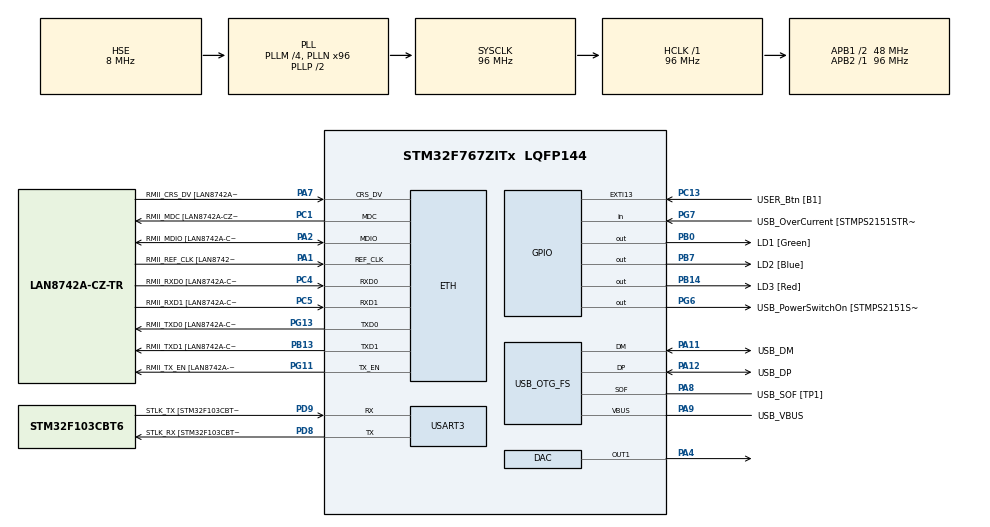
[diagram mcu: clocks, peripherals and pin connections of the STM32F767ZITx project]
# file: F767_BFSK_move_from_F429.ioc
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CORTEX_M7.default_mode_Activation=1
DAC.DAC_Trigger=DAC_TRIGGER_T6_TRGO
Dma.DAC1.0.Direction=DMA_MEMORY_TO_PERIPH
Dma.DAC1.0.FIFOMode=DMA_FIFOMODE_DISABLE
Dma.DAC1.0.Instance=DMA1_Stream5
Dma.DAC1.0.MemDataAlignment=DMA_MDATAALIGN_HALFWORD
Dma.DAC1.0.MemInc=DMA_MINC_ENABLE
Dma.DAC1.0.Mode=DMA_CIRCULAR
Dma.DAC1.0.PeriphDataAlignment=DMA_PDATAALIGN_HALFWORD
Dma.DAC1.0.PeriphInc=DMA_PINC_DISABLE
Dma.DAC1.0.Priority=DMA_PRIORITY_HIGH
Dma.Request0=DAC1
ETH.MediaInterface=HAL_ETH_RMII_MODE
ETH.PHY_Name=LAN8742A_PHY_ADDRESS
ETH.PHY_Value=0
ETH.PhyAddress=0
Mcu.Family=STM32F7
Mcu.Name=STM32F767ZITx
Mcu.Package=LQFP144
NVIC.DMA1_Stream5_IRQn=true\:0\:0\:false\:false\:true\:false\:true\:true
NVIC.PriorityGroup=NVIC_PRIORITYGROUP_4
PA1.GPIO_Label=RMII_REF_CLK [LAN8742A-CZ-TR_REFCLK0]
PA1.Mode=RMII
PA1.Signal=ETH_REF_CLK
PA10.GPIO_Label=USB_ID
PA10.Signal=USB_OTG_FS_ID
PA11.GPIO_Label=USB_DM
PA11.Mode=Device_Only
PA11.Signal=USB_OTG_FS_DM
PA12.GPIO_Label=USB_DP
PA12.Mode=Device_Only
PA12.Signal=USB_OTG_FS_DP
PA13.GPIO_Label=TMS
PA13.Mode=Serial_Wire
PA13.Signal=SYS_JTMS-SWDIO
PA14.GPIO_Label=TCK
PA14.Mode=Serial_Wire
PA14.Signal=SYS_JTCK-SWCLK
PA2.GPIO_Label=RMII_MDIO [LAN8742A-CZ-TR_MDIO]
PA2.Mode=RMII
PA2.Signal=ETH_MDIO
PA4.Signal=COMP_DAC1_group
PA7.GPIO_Label=RMII_CRS_DV [LAN8742A-CZ-TR_CRS_DV]
PA7.Mode=RMII
PA7.Signal=ETH_CRS_DV
PA8.GPIO_Label=USB_SOF [TP1]
PA8.Mode=Activate_SOF_FS
PA8.Signal=USB_OTG_FS_SOF
PA9.GPIO_Label=USB_VBUS
PA9.Mode=Activate_VBUS
PA9.Signal=USB_OTG_FS_VBUS
PB0.GPIO_Label=LD1 [Green]
PB0.Signal=GPIO_Output
PB13.GPIO_Label=RMII_TXD1 [LAN8742A-CZ-TR_TXD1]
PB13.Mode=RMII
PB13.Signal=ETH_TXD1
PB14.GPIO_Label=LD3 [Red]
PB14.Signal=GPIO_Output
PB3.GPIO_Label=SWO
PB3.Signal=SYS_JTDO-SWO
PB7.GPIO_Label=LD2 [Blue]
PB7.Signal=GPIO_Output
PC1.GPIO_Label=RMII_MDC [LAN8742A-CZ-TR_MDC]
PC1.Mode=RMII
PC1.Signal=ETH_MDC
PC13.GPIO_Label=USER_Btn [B1]
PC13.Signal=GPXTI13
PC14/OSC32_IN.Mode=LSE-External-Oscillator
PC14/OSC32_IN.Signal=RCC_OSC32_IN
PC15/OSC32_OUT.Mode=LSE-External-Oscillator
PC15/OSC32_OUT.Signal=RCC_OSC32_OUT
PC4.GPIO_Label=RMII_RXD0 [LAN8742A-CZ-TR_RXD0]
PC4.Mode=RMII
PC4.Signal=ETH_RXD0
PC5.GPIO_Label=RMII_RXD1 [LAN8742A-CZ-TR_RXD1]
PC5.Mode=RMII
PC5.Signal=ETH_RXD1
PD8.GPIO_Label=STLK_RX [STM32F103CBT6_PA3]
PD8.Mode=Asynchronous
PD8.Signal=USART3_TX
PD9.GPIO_Label=STLK_TX [STM32F103CBT6_PA2]
PD9.Mode=Asynchronous
PD9.Signal=USART3_RX
PG11.GPIO_Label=RMII_TX_EN [LAN8742A-CZ-TR_TXEN]
PG11.Mode=RMII
PG11.Signal=ETH_TX_EN
PG13.GPIO_Label=RMII_TXD0 [LAN8742A-CZ-TR_TXD0]
PG13.Mode=RMII
PG13.Signal=ETH_TXD0
PG6.GPIO_Label=USB_PowerSwitchOn [STMPS2151STR_EN]
PG6.Signal=GPIO_Output
PG7.GPIO_Label=USB_OverCurrent [STMPS2151STR_FAULT]
PG7.Signal=GPIO_Input
PH0/OSC_IN.GPIO_Label=MCO [STM32F103CBT6_PA8]
PH0/OSC_IN.Mode=HSE-External-Clock-Source
PH0/OSC_IN.Signal=RCC_OSC_IN
PH1/OSC_OUT.Mode=HSE-External-Clock-Source
PH1/OSC_OUT.Signal=RCC_OSC_OUT
ProjectManager.HeapSize=0x200
ProjectManager.StackSize=0x400
ProjectManager.TargetToolchain=STM32CubeIDE
RCC.48MHZClocksFreq_Value=24000000
RCC.AHBFreq_Value=96000000
RCC.APB1CLKDivider=RCC_HCLK_DIV2
RCC.APB1Freq_Value=48000000
RCC.APB1TimFreq_Value=96000000
RCC.APB2Freq_Value=96000000
RCC.APB2TimFreq_Value=96000000
RCC.CortexFreq_Value=96000000
RCC.HCLKFreq_Value=96000000
RCC.HSE_VALUE=8000000
RCC.HSI_VALUE=16000000
RCC.PLLM=4
RCC.PLLMUL=RCC_PLL_MUL9
RCC.PLLN=96
RCC.PLLQ=4
RCC.PRESCALERUSB=RCC_USBCLKSOURCE_PLL_DIV1_5
RCC.SYSCLKFreq_VALUE=96000000
RCC.SYSCLKSource=RCC_SYSCLKSOURCE_PLLCLK
RCC.SYSCLKSourceVirtual=RCC_SYSCLKSOURCE_PLLCLK
RCC.USBFreq_Value=48000000
RCC.VCOOutputFreq_Value=192000000
SH.COMP_DAC1_group.0=DAC_OUT1,DAC_OUT1
TIM6.TIM_MasterOutputTrigger=TIM_TRGO_UPDATE
USART3.VirtualMode-Asynchronous=VM_ASYNC
USB_OTG_FS.VirtualMode=Device_Only
VP_TIM6_VS_ClockSourceINT.Mode=Enable_Timer
board=NUCLEO-F767ZI

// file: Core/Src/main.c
/* USER CODE BEGIN Header */
/* F767_BFSK_move_from_F429 */
/**
  ******************************************************************************
  * @file           : main.c
  * @brief          : Main program body
  ******************************************************************************
  * @attention
  *
  * Copyright (c) 2026 STMicroelectronics.
  * All rights reserved.
  *
  * This software is licensed under terms that can be found in the LICENSE file
  * in the root directory of this software component.
  * If no LICENSE file comes with this software, it is provided AS-IS.
  *
  ******************************************************************************
  */
/* USER CODE END Header */
#include "main.h"
#include "string.h"

/* USER CODE BEGIN Includes */
#include <stdint.h>
#include <stddef.h>
/* USER CODE END Includes */

#if defined ( __ICCARM__ ) /*!< IAR Compiler */
#pragma location=0x2007c000
ETH_DMADescTypeDef  DMARxDscrTab[ETH_RX_DESC_CNT]; /* Ethernet Rx DMA Descriptors */
#pragma location=0x2007c0a0
ETH_DMADescTypeDef  DMATxDscrTab[ETH_TX_DESC_CNT]; /* Ethernet Tx DMA Descriptors */

#elif defined ( __CC_ARM )  /* MDK ARM Compiler */

__attribute__((at(0x2007c000))) ETH_DMADescTypeDef  DMARxDscrTab[ETH_RX_DESC_CNT]; /* Ethernet Rx DMA Descriptors */
__attribute__((at(0x2007c0a0))) ETH_DMADescTypeDef  DMATxDscrTab[ETH_TX_DESC_CNT]; /* Ethernet Tx DMA Descriptors */

#elif defined ( __GNUC__ ) /* GNU Compiler */

ETH_DMADescTypeDef DMARxDscrTab[ETH_RX_DESC_CNT] __attribute__((section(".RxDecripSection"))); /* Ethernet Rx DMA Descriptors */
ETH_DMADescTypeDef DMATxDscrTab[ETH_TX_DESC_CNT] __attribute__((section(".TxDecripSection")));   /* Ethernet Tx DMA Descriptors */
#endif

ETH_TxPacketConfig TxConfig;

DAC_HandleTypeDef hdac;
DMA_HandleTypeDef hdma_dac1;

ETH_HandleTypeDef heth;

TIM_HandleTypeDef htim6;

UART_HandleTypeDef huart3;

PCD_HandleTypeDef hpcd_USB_OTG_FS;

/* USER CODE BEGIN PV */
#define TABLE_SIZE        32U
#define BIT_MS            10U
#define PRE_HIGH_MS       50U
#define PRE_ZERO_MS       50U
#define POST_ZERO_MS      50U
#define GAP_MS            200U

// choose which BFSK pair you want
typedef enum
{
  PAIR_30_31 = 0,
  PAIR_45_46 = 1,
} FreqPair;

static volatile FreqPair g_pair = PAIR_30_31;         // <- change this to change the output frequency pair

#define DAC_Vrev_V        3.34f
#define DAC_FULLSCALE     4095.0f
#define DAC_1V68_CODE     ((uint16_t)((1.68f / DAC_Vrev_V) * DAC_FULLSCALE))

static const uint16_t sineTable[TABLE_SIZE] = {
  2048,2447,2831,3185,3495,3750,3939,4056,
  4095,4056,3939,3750,3495,3185,2831,2447,
  2048,1648,1264, 910, 600, 345, 156,  39,
  0,  39, 156, 345, 600, 910,1264,1648
};

// Tx framing state machine
typedef enum {
  ST_PRE_HIGH = 0,
  ST_PRE_ZERO,
  ST_DATA,
  ST_POST_ZERO,
  ST_GAP
} TxState;

static TxState st = ST_PRE_HIGH;
static uint32_t stTick = 0;
static uint32_t lastBitTick = 0;
static uint32_t bitIndex = 0;

// Data buffet : ASCII --> bit string
#define MAX_ASCII_LEN     64U
#define MAX_BIT_LEN       (MAX_ASCII_LEN * 8)

static const char userText[MAX_ASCII_LEN + 1] = "AMAC";       // change text here
static char bitString[MAX_BIT_LEN + 1];

static uint32_t tim6_clk_hz = 0;

// build bit string from ascii
static void ascii_to_bits(const char *in, char *out, size_t out_cap)
{
  size_t w = 0;
  for (size_t i = 0; in[i] != '\0'; i++)
  {
    uint8_t c = (uint8_t)in[i];
    for (int b = 7; b >= 0; b--)
    {
      if (w + 1 >= out_cap) {out[w] = '\0'; return;}
      out[w++] = ((c >> b) & 1U) ? '1' : '0';
    } // end for
  } // end for
} // end function ascii_to_bits

// read TIM6 timer clock (APB1 timer clock)
static uint32_t get_tim6_clock_hz(void)
{
  // Cube/HAL: PCLK1 may be divided; timer clock doubles if APB prescaler != 1
  uint32_t pclk1 = HAL_RCC_GetPCLK1Freq();
  uint32_t ppre1 = (RCC->CFGR & RCC_CFGR_PPRE1) >> RCC_CFGR_PPRE1_Pos;
  uint32_t apb1_presc = (ppre1 < 4U) ? 1U  : (1U << (ppre1 - 3U));
  return (apb1_presc == 1U) ? pclk1 : (2U * pclk1);
} // end function get_tim6_clock_hz

// pick f0/f1 based on pair
static inline uint32_t pair_f0_hz(FreqPair p) {return (p == PAIR_30_31) ? 30000U : 45000U;}
static inline uint32_t pair_f1_hz(FreqPair p) {return (p == PAIR_30_31) ? 31000U : 46000U;}

// Core: compute ARR for desired f_out with TABLE_SIZE samples/cycle
static uint32_t calc_arr_for_fout(uint32_t fout_hz)
{
  // f_update = f_out * TABLE_SIZE
  uint32_t f_update = fout_hz * TABLE_SIZE;

  uint32_t psc = htim6.Init.Prescaler;    // using CubeMX PSC
  if (f_update == 0U) f_update = 1U;

  // ARR = tim_clk / ((PSC + 1) * f_update) - 1
  uint32_t arr = (tim6_clk_hz / ((psc + 1U) * f_update));
  if (arr > 0U) arr -= 1U;

  // guardrails
  if (arr < 1U) arr = 1U;
  if (arr > 0xFFFFU) arr = 0xFFFFU;

  return arr;
} // end function cal_arr_for_fout

// Core: apply arr safely (dynamic)
static void tim6_set_arr(uint32_t arr)
{
  __HAL_TIM_DISABLE(&htim6);
  __HAL_TIM_SET_AUTORELOAD(&htim6 , arr);
  __HAL_TIM_SET_COUNTER(&htim6 , 0);

  // Force register reload immediately
  HAL_TIM_GenerateEvent(&htim6 , TIM_EVENTSOURCE_UPDATE);

  __HAL_TIM_ENABLE(&htim6);
} // end function tim6_set_arr

// Core: Set frequency from one bit ('0'/'1')
static void set_symbol_freq(char b)
{
  uint32_t f = (b == '0') ? pair_f0_hz(g_pair) : pair_f1_hz(g_pair);
  uint32_t arr = calc_arr_for_fout(f);
  tim6_set_arr(arr);
} // end function set_symbol_freq

static TxState st_prev = 0xFF;
static inline uint8_t is_enter_start (TxState s)
{
  if (st != st_prev) {st_prev = st; return 1;}
  return 0;
} // end function is_enter_start
/* USER CODE END PV */

void SystemClock_Config(void);
static void MPU_Config(void);
static void MX_GPIO_Init(void);
static void MX_DMA_Init(void);
static void MX_DAC_Init(void);
static void MX_ETH_Init(void);
static void MX_TIM6_Init(void);
static void MX_USART3_UART_Init(void);
static void MX_USB_OTG_FS_PCD_Init(void);

int main(void)
{

  /* MPU Configuration--------------------------------------------------------*/
  MPU_Config();

  /* MCU Configuration--------------------------------------------------------*/

  /* Reset of all peripherals, Initializes the Flash interface and the Systick. */
  HAL_Init();

  /* Configure the system clock */
  SystemClock_Config();

  /* Initialize all configured peripherals */
  MX_GPIO_Init();
  MX_DMA_Init();
  MX_DAC_Init();
  MX_ETH_Init();
  MX_TIM6_Init();
  MX_USART3_UART_Init();
  MX_USB_OTG_FS_PCD_Init();
  /* USER CODE BEGIN 2 */

  // 1) build bit string once
  ascii_to_bits(userText , bitString , sizeof(bitString));

  // 2) start DAC with DMA (circular waveform table)
  HAL_DAC_Start_DMA(&hdac , DAC_CHANNEL_1 , (uint32_t*)sineTable , TABLE_SIZE , DAC_ALIGN_12B_R);

  // 3) start TIM6 (TIM6 TGRO should trigger DAC)
  HAL_TIM_Base_Start(&htim6);

  // 4) cache timer clock for ARR calculation
  tim6_clk_hz = get_tim6_clock_hz();

  // 5) enter PRE_HIGH: disable timer updates, force DC 1.68V
  __HAL_TIM_DISABLE(&htim6);
  HAL_DAC_SetValue(&hdac , DAC_CHANNEL_1 , DAC_ALIGN_12B_R , DAC_1V68_CODE);

  st = ST_PRE_HIGH;
  stTick = HAL_GetTick();
  lastBitTick = stTick;
  bitIndex = 0;

  /* USER CODE END 2 */

  /* Infinite loop */
  /* USER CODE BEGIN WHILE */
  while (1)
  {
    uint32_t now = HAL_GetTick();
    switch (st)
    {
    case ST_PRE_HIGH:
      if (is_enter_start(ST_PRE_HIGH))
      {
        __HAL_TIM_DISABLE(&htim6);          // ensure no trigger
        HAL_DAC_Stop_DMA(&hdac , DAC_CHANNEL_1);    // (recommended) avoid DMA residue
        HAL_DAC_SetValue(&hdac , DAC_CHANNEL_1 , DAC_ALIGN_12B_R , DAC_1V68_CODE);
      } // end if

      if (now - stTick >= PRE_HIGH_MS)
      {
        st = ST_PRE_ZERO;
        stTick = now;
      } // end if

      break;

    case ST_PRE_ZERO:
      if (is_enter_start(ST_PRE_ZERO))
      {
        __HAL_TIM_DISABLE(&htim6);
        HAL_DAC_Stop_DMA(&hdac , DAC_CHANNEL_1);
        HAL_DAC_SetValue(&hdac , DAC_CHANNEL_1 , DAC_ALIGN_12B_R , 0);
      } // end if

      if (now - stTick >= PRE_ZERO_MS)
      {
        st = ST_DATA;
        stTick = now;
      } // end if
      break;

    case ST_DATA:
      if (is_enter_start(ST_DATA))
      {
        bitIndex = 0;
        lastBitTick = now;

        // 1) reset LUT/DMA pointer so DATA always from table[0]
        HAL_DAC_Stop_DMA(&hdac , DAC_CHANNEL_1);
        HAL_DAC_Start_DMA(&hdac , DAC_CHANNEL_1 , (uint32_t*)sineTable , TABLE_SIZE , DAC_ALIGN_12B_R);

        // 2) reset timer counter and enable
        __HAL_TIM_SET_COUNTER(&htim6 , 0);
        __HAL_TIM_ENABLE(&htim6);

        // 3) set first symbol
        if (bitString[0] == '\0')
        {
          __HAL_TIM_DISABLE(&htim6);
          HAL_DAC_Stop_DMA(&hdac , DAC_CHANNEL_1);
          HAL_DAC_SetValue(&hdac , DAC_CHANNEL_1 , DAC_ALIGN_12B_R , 0);

          st = ST_POST_ZERO;
          stTick = now;
        } // end if
        else
        {
          set_symbol_freq(bitString[0]);
        } // end else
      } // end if

      // change frequency every BIT_MS

      if (now - lastBitTick >= BIT_MS)
      {
        lastBitTick += BIT_MS;
        bitIndex++;

        char b = bitString[bitIndex];
        if (b == '\0')
        {
          __HAL_TIM_DISABLE(&htim6);
          HAL_DAC_Stop_DMA(&hdac , DAC_CHANNEL_1);
          HAL_DAC_SetValue(&hdac , DAC_CHANNEL_1 , DAC_ALIGN_12B_R , 0);

          st = ST_POST_ZERO;
          stTick = now;
        } // end if
        else
        {
          set_symbol_freq(b);
        } // end else
      } // end if
      break;

    case ST_POST_ZERO:
      if (is_enter_start(ST_POST_ZERO))
      {
        __HAL_TIM_DISABLE(&htim6);
        HAL_DAC_Stop_DMA(&hdac , DAC_CHANNEL_1);
        HAL_DAC_SetValue(&hdac , DAC_CHANNEL_1 , DAC_ALIGN_12B_R , 0);
      } // end if

      if (now - stTick >= POST_ZERO_MS)
      {
        st = ST_GAP;
        stTick = now;
      } // end if
      break;

    case ST_GAP:
      if (is_enter_start(ST_GAP))
      {
        __HAL_TIM_DISABLE(&htim6);
        HAL_DAC_Stop_DMA(&hdac , DAC_CHANNEL_1);
        HAL_DAC_SetValue(&hdac , DAC_CHANNEL_1 , DAC_ALIGN_12B_R , 0);
      } // end if

      if (now - stTick >= GAP_MS)
      {
        st = ST_PRE_HIGH;
        stTick = now;
      } // end if
      break;

    default:
        __HAL_TIM_DISABLE(&htim6);
        HAL_DAC_Stop_DMA(&hdac , DAC_CHANNEL_1);
        HAL_DAC_SetValue(&hdac , DAC_CHANNEL_1 , DAC_ALIGN_12B_R , 0);
      break;
    } // end switch
    /* USER CODE END WHILE */

    /* USER CODE BEGIN 3 */
  } // end while
  /* USER CODE END 3 */
}

void SystemClock_Config(void)
{
  RCC_OscInitTypeDef RCC_OscInitStruct = {0};
  RCC_ClkInitTypeDef RCC_ClkInitStruct = {0};

  /** Configure LSE Drive Capability
  */
  HAL_PWR_EnableBkUpAccess();

  /** Configure the main internal regulator output voltage
  */
  __HAL_RCC_PWR_CLK_ENABLE();
  __HAL_PWR_VOLTAGESCALING_CONFIG(PWR_REGULATOR_VOLTAGE_SCALE3);

  /** Initializes the RCC Oscillators according to the specified parameters
  * in the RCC_OscInitTypeDef structure.
  */
  RCC_OscInitStruct.OscillatorType = RCC_OSCILLATORTYPE_HSE;
  RCC_OscInitStruct.HSEState = RCC_HSE_BYPASS;
  RCC_OscInitStruct.PLL.PLLState = RCC_PLL_ON;
  RCC_OscInitStruct.PLL.PLLSource = RCC_PLLSOURCE_HSE;
  RCC_OscInitStruct.PLL.PLLM = 4;
  RCC_OscInitStruct.PLL.PLLN = 96;
  RCC_OscInitStruct.PLL.PLLP = RCC_PLLP_DIV2;
  RCC_OscInitStruct.PLL.PLLQ = 4;
  RCC_OscInitStruct.PLL.PLLR = 2;
  if (HAL_RCC_OscConfig(&RCC_OscInitStruct) != HAL_OK)
  {
    Error_Handler();
  }

  /** Activate the Over-Drive mode
  */
  if (HAL_PWREx_EnableOverDrive() != HAL_OK)
  {
    Error_Handler();
  }

  /** Initializes the CPU, AHB and APB buses clocks
  */
  RCC_ClkInitStruct.ClockType = RCC_CLOCKTYPE_HCLK|RCC_CLOCKTYPE_SYSCLK
                              |RCC_CLOCKTYPE_PCLK1|RCC_CLOCKTYPE_PCLK2;
  RCC_ClkInitStruct.SYSCLKSource = RCC_SYSCLKSOURCE_PLLCLK;
  RCC_ClkInitStruct.AHBCLKDivider = RCC_SYSCLK_DIV1;
  RCC_ClkInitStruct.APB1CLKDivider = RCC_HCLK_DIV2;
  RCC_ClkInitStruct.APB2CLKDivider = RCC_HCLK_DIV1;

  if (HAL_RCC_ClockConfig(&RCC_ClkInitStruct, FLASH_LATENCY_3) != HAL_OK)
  {
    Error_Handler();
  }
}

static void MX_DAC_Init(void)
{

  DAC_ChannelConfTypeDef sConfig = {0};

  /** DAC Initialization
  */
  hdac.Instance = DAC;
  if (HAL_DAC_Init(&hdac) != HAL_OK)
  {
    Error_Handler();
  }

  /** DAC channel OUT1 config
  */
  sConfig.DAC_Trigger = DAC_TRIGGER_T6_TRGO;
  sConfig.DAC_OutputBuffer = DAC_OUTPUTBUFFER_ENABLE;
  if (HAL_DAC_ConfigChannel(&hdac, &sConfig, DAC_CHANNEL_1) != HAL_OK)
  {
    Error_Handler();
  }

}

static void MX_ETH_Init(void)
{

   static uint8_t MACAddr[6];

  heth.Instance = ETH;
  MACAddr[0] = 0x00;
  MACAddr[1] = 0x80;
  MACAddr[2] = 0xE1;
  MACAddr[3] = 0x00;
  MACAddr[4] = 0x00;
  MACAddr[5] = 0x00;
  heth.Init.MACAddr = &MACAddr[0];
  heth.Init.MediaInterface = HAL_ETH_RMII_MODE;
  heth.Init.TxDesc = DMATxDscrTab;
  heth.Init.RxDesc = DMARxDscrTab;
  heth.Init.RxBuffLen = 1524;

  if (HAL_ETH_Init(&heth) != HAL_OK)
  {
    Error_Handler();
  }

  memset(&TxConfig, 0 , sizeof(ETH_TxPacketConfig));
  TxConfig.Attributes = ETH_TX_PACKETS_FEATURES_CSUM | ETH_TX_PACKETS_FEATURES_CRCPAD;
  TxConfig.ChecksumCtrl = ETH_CHECKSUM_IPHDR_PAYLOAD_INSERT_PHDR_CALC;
  TxConfig.CRCPadCtrl = ETH_CRC_PAD_INSERT;

}

static void MX_TIM6_Init(void)
{

  TIM_MasterConfigTypeDef sMasterConfig = {0};

  htim6.Instance = TIM6;
  htim6.Init.Prescaler = 0;
  htim6.Init.CounterMode = TIM_COUNTERMODE_UP;
  htim6.Init.Period = 65535;
  htim6.Init.AutoReloadPreload = TIM_AUTORELOAD_PRELOAD_DISABLE;
  if (HAL_TIM_Base_Init(&htim6) != HAL_OK)
  {
    Error_Handler();
  }
  sMasterConfig.MasterOutputTrigger = TIM_TRGO_UPDATE;
  sMasterConfig.MasterSlaveMode = TIM_MASTERSLAVEMODE_DISABLE;
  if (HAL_TIMEx_MasterConfigSynchronization(&htim6, &sMasterConfig) != HAL_OK)
  {
    Error_Handler();
  }

}

static void MX_USART3_UART_Init(void)
{

  huart3.Instance = USART3;
  huart3.Init.BaudRate = 115200;
  huart3.Init.WordLength = UART_WORDLENGTH_8B;
  huart3.Init.StopBits = UART_STOPBITS_1;
  huart3.Init.Parity = UART_PARITY_NONE;
  huart3.Init.Mode = UART_MODE_TX_RX;
  huart3.Init.HwFlowCtl = UART_HWCONTROL_NONE;
  huart3.Init.OverSampling = UART_OVERSAMPLING_16;
  huart3.Init.OneBitSampling = UART_ONE_BIT_SAMPLE_DISABLE;
  huart3.AdvancedInit.AdvFeatureInit = UART_ADVFEATURE_NO_INIT;
  if (HAL_UART_Init(&huart3) != HAL_OK)
  {
    Error_Handler();
  }

}

static void MX_USB_OTG_FS_PCD_Init(void)
{

  hpcd_USB_OTG_FS.Instance = USB_OTG_FS;
  hpcd_USB_OTG_FS.Init.dev_endpoints = 6;
  hpcd_USB_OTG_FS.Init.speed = PCD_SPEED_FULL;
  hpcd_USB_OTG_FS.Init.dma_enable = DISABLE;
  hpcd_USB_OTG_FS.Init.phy_itface = PCD_PHY_EMBEDDED;
  hpcd_USB_OTG_FS.Init.Sof_enable = ENABLE;
  hpcd_USB_OTG_FS.Init.low_power_enable = DISABLE;
  hpcd_USB_OTG_FS.Init.lpm_enable = DISABLE;
  hpcd_USB_OTG_FS.Init.vbus_sensing_enable = ENABLE;
  hpcd_USB_OTG_FS.Init.use_dedicated_ep1 = DISABLE;
  if (HAL_PCD_Init(&hpcd_USB_OTG_FS) != HAL_OK)
  {
    Error_Handler();
  }

}

static void MX_DMA_Init(void)
{

  /* DMA controller clock enable */
  __HAL_RCC_DMA1_CLK_ENABLE();

  /* DMA interrupt init */
  /* DMA1_Stream5_IRQn interrupt configuration */
  HAL_NVIC_SetPriority(DMA1_Stream5_IRQn, 0, 0);
  HAL_NVIC_EnableIRQ(DMA1_Stream5_IRQn);

}

static void MX_GPIO_Init(void)
{
  GPIO_InitTypeDef GPIO_InitStruct = {0};

  /* GPIO Ports Clock Enable */
  __HAL_RCC_GPIOC_CLK_ENABLE();
  __HAL_RCC_GPIOH_CLK_ENABLE();
  __HAL_RCC_GPIOA_CLK_ENABLE();
  __HAL_RCC_GPIOB_CLK_ENABLE();
  __HAL_RCC_GPIOD_CLK_ENABLE();
  __HAL_RCC_GPIOG_CLK_ENABLE();

  /*Configure GPIO pin Output Level */
  HAL_GPIO_WritePin(GPIOB, LD1_Pin|LD3_Pin|LD2_Pin, GPIO_PIN_RESET);

  /*Configure GPIO pin Output Level */
  HAL_GPIO_WritePin(USB_PowerSwitchOn_GPIO_Port, USB_PowerSwitchOn_Pin, GPIO_PIN_RESET);

  /*Configure GPIO pin : USER_Btn_Pin */
  GPIO_InitStruct.Pin = USER_Btn_Pin;
  GPIO_InitStruct.Mode = GPIO_MODE_IT_RISING;
  GPIO_InitStruct.Pull = GPIO_NOPULL;
  HAL_GPIO_Init(USER_Btn_GPIO_Port, &GPIO_InitStruct);

  /*Configure GPIO pins : LD1_Pin LD3_Pin LD2_Pin */
  GPIO_InitStruct.Pin = LD1_Pin|LD3_Pin|LD2_Pin;
  GPIO_InitStruct.Mode = GPIO_MODE_OUTPUT_PP;
  GPIO_InitStruct.Pull = GPIO_NOPULL;
  GPIO_InitStruct.Speed = GPIO_SPEED_FREQ_LOW;
  HAL_GPIO_Init(GPIOB, &GPIO_InitStruct);

  /*Configure GPIO pin : USB_PowerSwitchOn_Pin */
  GPIO_InitStruct.Pin = USB_PowerSwitchOn_Pin;
  GPIO_InitStruct.Mode = GPIO_MODE_OUTPUT_PP;
  GPIO_InitStruct.Pull = GPIO_NOPULL;
  GPIO_InitStruct.Speed = GPIO_SPEED_FREQ_LOW;
  HAL_GPIO_Init(USB_PowerSwitchOn_GPIO_Port, &GPIO_InitStruct);

  /*Configure GPIO pin : USB_OverCurrent_Pin */
  GPIO_InitStruct.Pin = USB_OverCurrent_Pin;
  GPIO_InitStruct.Mode = GPIO_MODE_INPUT;
  GPIO_InitStruct.Pull = GPIO_NOPULL;
  HAL_GPIO_Init(USB_OverCurrent_GPIO_Port, &GPIO_InitStruct);

}

 /* MPU Configuration */

void MPU_Config(void)
{
  MPU_Region_InitTypeDef MPU_InitStruct = {0};

  /* Disables the MPU */
  HAL_MPU_Disable();

  /** Initializes and configures the Region and the memory to be protected
  */
  MPU_InitStruct.Enable = MPU_REGION_ENABLE;
  MPU_InitStruct.Number = MPU_REGION_NUMBER0;
  MPU_InitStruct.BaseAddress = 0x0;
  MPU_InitStruct.Size = MPU_REGION_SIZE_4GB;
  MPU_InitStruct.SubRegionDisable = 0x87;
  MPU_InitStruct.TypeExtField = MPU_TEX_LEVEL0;
  MPU_InitStruct.AccessPermission = MPU_REGION_NO_ACCESS;
  MPU_InitStruct.DisableExec = MPU_INSTRUCTION_ACCESS_DISABLE;
  MPU_InitStruct.IsShareable = MPU_ACCESS_SHAREABLE;
  MPU_InitStruct.IsCacheable = MPU_ACCESS_NOT_CACHEABLE;
  MPU_InitStruct.IsBufferable = MPU_ACCESS_NOT_BUFFERABLE;

  HAL_MPU_ConfigRegion(&MPU_InitStruct);
  /* Enables the MPU */
  HAL_MPU_Enable(MPU_PRIVILEGED_DEFAULT);

}

void Error_Handler(void)
{
  __disable_irq();
  while (1)
  {
  }
}
